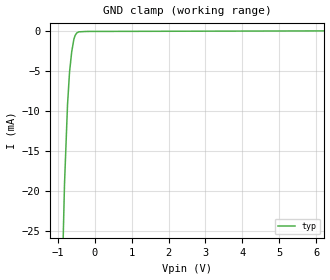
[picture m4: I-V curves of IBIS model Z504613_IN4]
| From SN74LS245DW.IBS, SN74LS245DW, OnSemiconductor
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| (C) COPYRIGHT 1993-2000
| MENTOR GRAPHICS CORPORATION
| ICX STANDARD LIBRARY, ICX PROJECT MODELING,
| ICX CUSTOM MODELING, ICX VENDOR MODEL
| ALL RIGHTS RESERVED.
| THE FOLLOWING ARE TRADEMARKS OR SERVICE MARKS OF
| MENTOR GRAPHICS CORPORATION:ICX (R), ICX STANDARD
| LIBRARY(R), ICX PROJECT MODELING(R), ICX CUSTOM
| MODELING(R), qualityIBIS(TM), MODELVIEWER(TM),
| AND MODELEDITOR(TM)
| ALL COPIES OF SOFTWARE, INCLUDING BUT NOT LIMITED TO
| ANY MODIFICATIONS, ENHANCEMENTS OR DERIVATIVE WORKS,
| MUST CONTAIN ALL MENTOR GRAPHICS CORPORATION'S
| NOTICES AND LEGENDS, INCLUDING THOSE EMBEDDED IN
| SOFTWARE AND THOSE AFFIXED TO SOFTWARE MEDIUM
| AND CONTAINER, AS RECEIVED FROM MENTOR GRAPHICS
| CORPORATION.
| Model Application Version 1.89 2/18/99.
[Model] Z504613_IN4
Model_type Input
Vinl = 800.0mV
Vinh = 2.000V
C_comp 4.000pF NA NA
| variable typ   min   max
[Voltage Range] 5.000V NA NA
[GND Clamp Reference] 0.000V NA NA
[POWER Clamp Reference] 5.000V NA NA
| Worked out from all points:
|   GND clamp passes 1 mA (typ) near -0.56 V on its own axis
[GND Clamp]
-5V       -814.8mA   NA         NA
-815.3mV  -19.17mA   NA         NA
-733.9mV  -9.273mA   NA         NA
-678.7mV  -5.125mA   NA         NA
-620.2mV  -2.604mA   NA         NA
-561.3mV  -1.027mA   NA         NA
-526.5mV  -550uA     NA         NA
-483.6mV  -253.3uA   NA         NA
-428.1mV  -108.9uA   NA         NA
-214mV    -62.09uA   NA         NA
10V       48.2uA     NA         NA
[POWER Clamp]
-5V       0A         NA         NA
10V       0A         NA         NA
